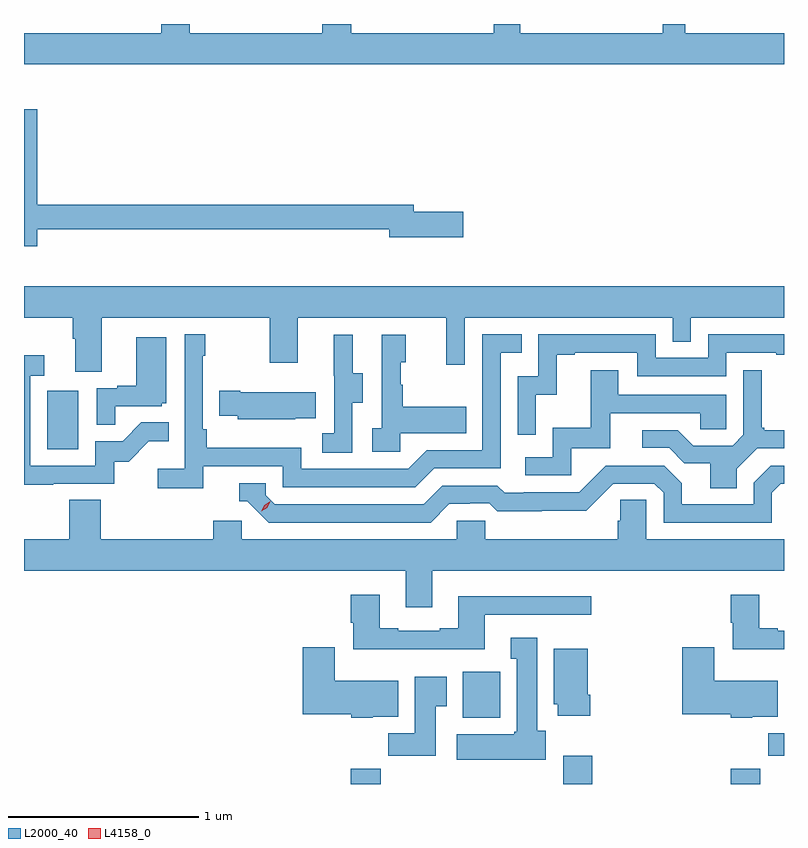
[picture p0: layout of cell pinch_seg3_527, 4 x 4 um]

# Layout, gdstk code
import gdstk
lib = gdstk.Library(unit=1e-6, precision=1e-09)
def R(c, l, rs):  # rectangles x0, y0, x1, y1
    for r in rs: c.add(gdstk.rectangle(r[:2], r[2:], *l))
def P(c, l, *ps):  # polygons
    for p in ps: c.add(gdstk.Polygon(p, *l))
L2000_40 = (2000, 40)
L4158_0 = (4158, 0)

pinch_seg3_527 = lib.new_cell('pinch_seg3_527')
R(pinch_seg3_527, L2000_40, [(1130.399,694.465,1130.555,694.544), (1131.515,694.465,1131.668,694.615), (1132.397,694.465,1132.553,694.544), (1132.594,694.614,1132.678,694.732), (1130.987,694.814,1131.184,695.056), (1128.8,696.228,1128.964,696.535)])
P(pinch_seg3_527, L2000_40, [(1132.678,698.416),(1132.157,698.416),(1132.157,698.465),(1132.041,698.465),(1132.041,698.416),(1131.289,698.416),(1131.289,698.465),(1131.15,698.465),(1131.15,698.416),(1130.4,698.416),(1130.4,698.465),(1130.249,698.465),(1130.249,698.416),(1129.551,698.416),(1129.551,698.465),(1129.401,698.465),(1129.401,698.416),(1128.678,698.416),(1128.678,698.252),(1132.678,698.252)],
  [(1128.748,697.386),(1130.6,697.386),(1130.6,697.343),(1130.989,697.343),(1130.989,697.478),(1130.728,697.478),(1130.728,697.514),(1128.748,697.514),(1128.748,698.017),(1128.678,698.017),(1128.678,697.296),(1128.748,697.296)],
  [(1129.087,696.92),(1129.972,696.92),(1129.972,696.681),(1130.119,696.681),(1130.119,696.92),(1130.9,696.92),(1130.9,696.672),(1130.997,696.672),(1130.997,696.92),(1132.092,696.92),(1132.092,696.793),(1132.188,696.793),(1132.188,696.92),(1132.678,696.92),(1132.678,697.084),(1128.678,697.084),(1128.678,696.92),(1128.935,696.92),(1128.935,696.808),(1128.947,696.808),(1128.947,696.634),(1129.087,696.634)],
  [(1129.622,696.138),(1130.04,696.138),(1130.04,696.027),(1130.737,696.027),(1130.836,696.126),(1131.186,696.126),(1131.186,696.735),(1131.299,696.735),(1131.299,696.831),(1131.09,696.831),(1131.09,696.222),(1130.799,696.222),(1130.7,696.123),(1130.136,696.123),(1130.136,696.235),(1129.64,696.235),(1129.64,696.331),(1129.62,696.331),(1129.62,696.719),(1129.633,696.719),(1129.633,696.832),(1129.524,696.832),(1129.524,696.124),(1129.383,696.124),(1129.383,696.022),(1129.622,696.022)],
  [(1131.372,696.515),(1131.482,696.515),(1131.482,696.723),(1131.577,696.723),(1131.577,696.735),(1131.906,696.735),(1131.906,696.612),(1132.374,696.612),(1132.374,696.735),(1132.637,696.735),(1132.637,696.723),(1132.678,696.723),(1132.678,696.831),(1132.278,696.831),(1132.278,696.708),(1132.002,696.708),(1132.002,696.831),(1131.384,696.831),(1131.384,696.612),(1131.276,696.612),(1131.276,696.303),(1131.372,696.303)],
  [(1130.658,696.311),(1131.005,696.311),(1131.005,696.451),(1130.671,696.451),(1130.671,696.566),(1130.661,696.566),(1130.661,696.684),(1130.686,696.684),(1130.686,696.829),(1130.562,696.829),(1130.562,696.338),(1130.511,696.338),(1130.511,696.213),(1130.658,696.213)],
  [(1130.406,696.472),(1130.461,696.472),(1130.461,696.627),(1130.407,696.627),(1130.407,696.829),(1130.309,696.829),(1130.309,696.615),(1130.31,696.615),(1130.31,696.311),(1130.247,696.311),(1130.247,696.208),(1130.406,696.208)],
  [(1129.157,696.453),(1129.404,696.453),(1129.404,696.468),(1129.426,696.468),(1129.426,696.817),(1129.268,696.817),(1129.268,696.562),(1129.169,696.562),(1129.169,696.549),(1129.062,696.549),(1129.062,696.355),(1129.157,696.355)],
  [(1128.833,696.045),(1129.152,696.045),(1129.152,696.162),(1129.228,696.162),(1129.335,696.269),(1129.439,696.269),(1129.439,696.368),(1129.295,696.368),(1129.197,696.27),(1129.053,696.27),(1129.053,696.141),(1128.711,696.141),(1128.711,696.615),(1128.784,696.615),(1128.784,696.721),(1128.678,696.721),(1128.678,696.04),(1128.833,696.04)],
  [(1132.429,696.124),(1132.536,696.231),(1132.678,696.231),(1132.678,696.328),(1132.573,696.328),(1132.573,696.34),(1132.561,696.34),(1132.561,696.643),(1132.464,696.643),(1132.464,696.303),(1132.407,696.246),(1132.201,696.246),(1132.12,696.327),(1131.933,696.327),(1131.933,696.234),(1132.074,696.234),(1132.154,696.154),(1132.289,696.154),(1132.289,696.022),(1132.429,696.022)],
  [(1131.558,696.231),(1131.763,696.231),(1131.763,696.417),(1132.237,696.417),(1132.237,696.333),(1132.374,696.333),(1132.374,696.513),(1131.805,696.513),(1131.805,696.643),(1131.661,696.643),(1131.661,696.34),(1131.462,696.34),(1131.462,696.186),(1131.315,696.186),(1131.315,696.09),(1131.558,696.09)],
  [(1130.105,696.389),(1130.213,696.389),(1130.213,696.526),(1129.816,696.526),(1129.816,696.534),(1129.705,696.534),(1129.705,696.404),(1129.803,696.404),(1129.803,696.386),(1130.105,696.386)],
  [(1130.917,695.94),(1131.024,695.94),(1131.024,695.943),(1131.127,695.943),(1131.169,695.901),(1131.402,695.901),(1131.402,695.903),(1131.638,695.903),(1131.78,696.045),(1131.996,696.045),(1132.044,695.997),(1132.044,695.841),(1132.614,695.841),(1132.614,695.997),(1132.662,696.045),(1132.678,696.045),(1132.678,696.141),(1132.608,696.141),(1132.518,696.051),(1132.518,695.937),(1132.141,695.937),(1132.141,696.047),(1132.047,696.141),(1131.741,696.141),(1131.6,696),(1131.307,696),(1131.307,695.997),(1131.208,695.997),(1131.169,696.036),(1130.88,696.036),(1130.781,695.937),(1129.998,695.937),(1129.95,695.985),(1129.95,696.048),(1129.811,696.048),(1129.811,695.952),(1129.854,695.952),(1129.965,695.841),(1130.818,695.841)],
  [(1130.827,695.588),(1132.678,695.588),(1132.678,695.752),(1131.954,695.752),(1131.954,695.96),(1131.817,695.96),(1131.817,695.85),(1131.803,695.85),(1131.803,695.752),(1131.105,695.752),(1131.105,695.85),(1130.955,695.85),(1130.955,695.752),(1129.824,695.752),(1129.824,695.85),(1129.673,695.85),(1129.673,695.752),(1129.082,695.752),(1129.082,695.96),(1128.917,695.96),(1128.917,695.752),(1128.678,695.752),(1128.678,695.588),(1130.687,695.588),(1130.687,695.394),(1130.827,695.394)],
  [(1131.103,695.355),(1131.664,695.355),(1131.664,695.452),(1130.963,695.452),(1130.963,695.284),(1130.867,695.284),(1130.867,695.271),(1130.647,695.271),(1130.647,695.284),(1130.551,695.284),(1130.551,695.461),(1130.399,695.461),(1130.399,695.313),(1130.411,695.313),(1130.411,695.174),(1131.103,695.174)],
  [(1132.678,695.271),(1132.645,695.271),(1132.645,695.284),(1132.549,695.284),(1132.549,695.461),(1132.397,695.461),(1132.397,695.313),(1132.409,695.313),(1132.409,695.174),(1132.678,695.174)],
  [(1131.424,694.746),(1131.379,694.746),(1131.379,695.236),(1131.239,695.236),(1131.239,695.123),(1131.272,695.123),(1131.272,694.74),(1131.259,694.74),(1131.259,694.726),(1130.955,694.726),(1130.955,694.592),(1131.424,694.592)],
  [(1132.512,694.82),(1132.645,694.82),(1132.645,695.008),(1132.312,695.008),(1132.312,695.185),(1132.142,695.185),(1132.142,694.832),(1132.398,694.832),(1132.398,694.814),(1132.512,694.814)],
  [(1130.514,694.82),(1130.647,694.82),(1130.647,695.008),(1130.314,695.008),(1130.314,695.185),(1130.144,695.185),(1130.144,694.832),(1130.4,694.832),(1130.4,694.814),(1130.514,694.814)],
  [(1131.659,694.936),(1131.646,694.936),(1131.646,695.176),(1131.467,695.176),(1131.467,694.884),(1131.488,694.884),(1131.488,694.824),(1131.659,694.824)],
  [(1130.845,694.873),(1130.902,694.873),(1130.902,695.029),(1130.735,695.029),(1130.735,694.732),(1130.596,694.732),(1130.596,694.614),(1130.845,694.614)])
P(pinch_seg3_527, L4158_0, [(1129.926,695.9),(1129.926,695.9),(1129.942,695.932),(1129.973,695.952),(1129.974,695.952),(1129.974,695.951),(1129.957,695.919),(1129.926,695.9)])

lib.write_gds('pinch_seg3_527.gds')
